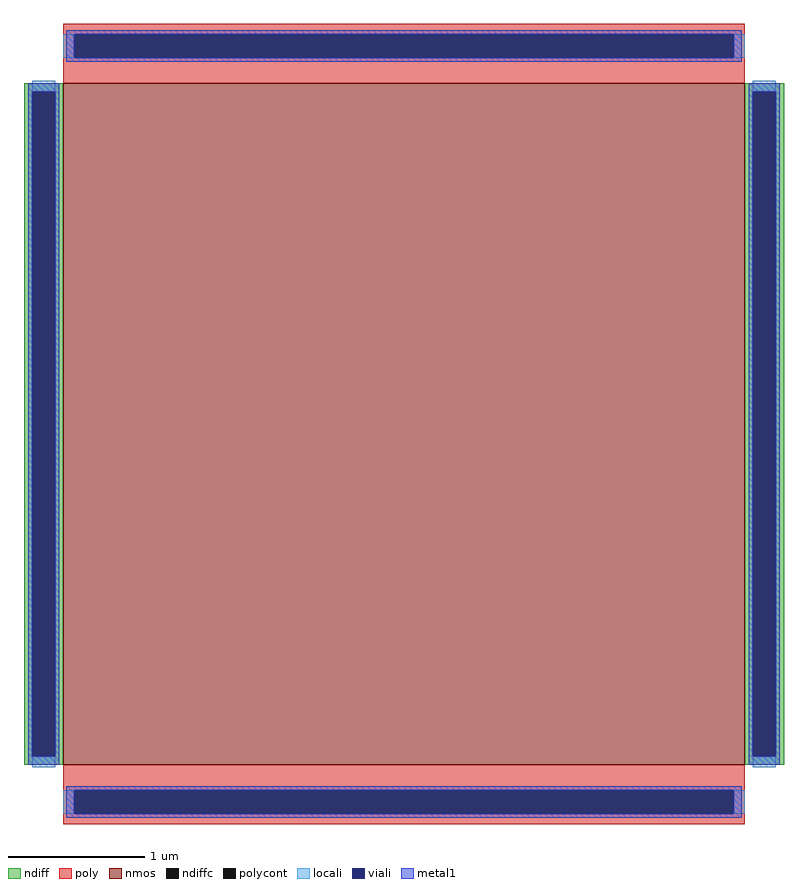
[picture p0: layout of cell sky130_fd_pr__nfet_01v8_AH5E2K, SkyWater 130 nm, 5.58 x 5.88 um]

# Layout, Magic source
magic
tech sky130A
<< nmos >>
rect -250 -250 250 250
<< ndiff >>
rect -279 244 -250 250
rect -279 -244 -273 244
rect -256 -244 -250 244
rect -279 -250 -250 -244
rect 250 244 279 250
rect 250 -244 256 244
rect 273 -244 279 244
rect 250 -250 279 -244
<< ndiffc >>
rect -273 -244 -256 244
rect 256 -244 273 244
<< poly >>
rect -250 286 250 294
rect -250 269 -242 286
rect 242 269 250 286
rect -250 250 250 269
rect -250 -269 250 -250
rect -250 -286 -242 -269
rect 242 -286 250 -269
rect -250 -294 250 -286
<< polycont >>
rect -242 269 242 286
rect -242 -286 242 -269
<< locali >>
rect -250 269 -242 286
rect 242 269 250 286
rect -273 244 -256 252
rect -273 -252 -256 -244
rect 256 244 273 252
rect 256 -252 273 -244
rect -250 -286 -242 -269
rect 242 -286 250 -269
<< viali >>
rect -242 269 242 286
rect -273 -244 -256 244
rect 256 -244 273 244
rect -242 -286 242 -269
<< metal1 >>
rect -248 286 248 289
rect -248 269 -242 286
rect 242 269 248 286
rect -248 266 248 269
rect -276 244 -253 250
rect -276 -244 -273 244
rect -256 -244 -253 244
rect -276 -250 -253 -244
rect 253 244 276 250
rect 253 -244 256 244
rect 273 -244 276 244
rect 253 -250 276 -244
rect -248 -269 248 -266
rect -248 -286 -242 -269
rect 242 -286 248 -269
rect -248 -289 248 -286
<< properties >>
string gencell sky130_fd_pr__nfet_01v8
string library sky130
string parameters w 5.0 l 5.0 m 1 nf 1 diffcov 100 polycov 100 guard 0 glc 1 grc 1 gtc 1 gbc 1 tbcov 100 rlcov 100 topc 1 botc 1 poverlap 0 doverlap 1 lmin 0.15 wmin 0.42 compatible {sky130_fd_pr__nfet_01v8 sky130_fd_pr__nfet_01v8_lvt  sky130_fd_bs_flash__special_sonosfet_star  sky130_fd_pr__nfet_g5v0d10v5 sky130_fd_pr__nfet_05v0_nvt  sky130_fd_pr__nfet_03v3_nvt} full_metal 1 viasrc 100 viadrn 100 viagate 100 viagb 0 viagr 0 viagl 0 viagt 0
<< end >>
